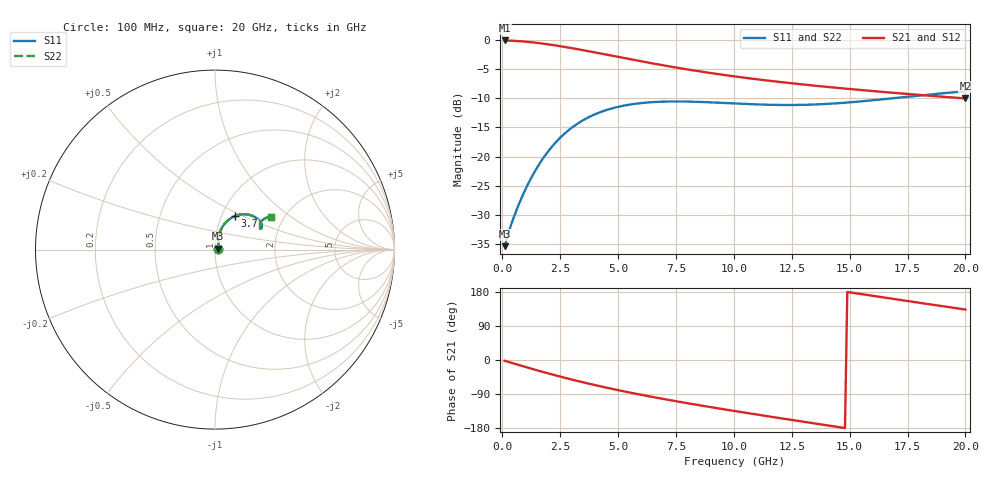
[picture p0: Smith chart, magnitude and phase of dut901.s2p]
! Touchstone file exported from HFSS 2024.1.0
!  File:  C:/UserFiles/LocalFiles/RDL_TSV_Batchsim/temp_RDL_TSV_901_1779953602.aedt
!  Generated:  03:48:23 PM May 28, 2026
!  Design:  RDL_TSV
!  Project:  temp_RDL_TSV_901_1779953602
!  Setup:  Setup1
!  Solution:  Sweep
! Variables:
!  dtsv = 6.6um
!  hbump = 3um
!  htsv = 73.95um
!  ldown = 360.4um
!  lrdl = 566.96um
!  p = 40
!  p1 = 55.06um
!  rhole = 10um
!  subl = 3349.04um
!  t = 450um
!  tdown = 3.41um
!  trdl = 3.46um
!  viad = 10um
!  wdown = 27.94um
!  wrdl = 21.91um
!  xbump = 18um
# GHz S MA R 50.000000
! Terminal data exported
! Port[1] = TM1_1_T1
! Port[2] = TM1_4_T1
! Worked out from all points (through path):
!   200 points, 100 MHz to 20 GHz, reference 50 ohm
!   highest |S21| = -0.14 dB at 100 MHz (marker M1); lowest = -10.1 dB at 20 GHz (marker M2)
!   group delay of S21, straight-line fit = 29.8 ps
!   lowest |S11| = -35.3 dB at 100 MHz (marker M3), VSWR 1.03, Z = 51.6 + j0.577 ohm
!   |S11| at or under -10 dB: start of sweep to 16.93 GHz
!   |S22| runs from -35.3 to -8.8 dB; largest |S21 - S12| = 1.6e-14
!   S11 on the Smith chart (normalised r, x): 100 MHz: 1.03, +0.01; 3.7 GHz: 1.15, +0.45; 20 GHz: 1.72, +0.72
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0.1  0.01713 19.0  0.9836 -1.9  0.9836 -1.9  0.01713 19.0
! Gamma 0 0 0 0
! Port Impedance 50 0 50 0
0.4  0.02682 47.8  0.9784 -7.5  0.9784 -7.5  0.02682 47.8
0.8  0.04288 64.4  0.9677 -14.8  0.9677 -14.8  0.04288 64.4
1.2  0.06302 71.8  0.9524 -21.9  0.9524 -21.9  0.06304 71.9
1.6  0.08651 74.2  0.9329 -28.9  0.9329 -28.9  0.08655 74.3
2  0.1121 73.7  0.9103 -35.6  0.9103 -35.6  0.1122 73.8
2.5  0.1449 70.7  0.879 -43.8  0.879 -43.8  0.145 70.8
3  0.1765 66.3  0.8457 -51.6  0.8457 -51.6  0.1767 66.4
3.5  0.2051 61.5  0.8115 -59.0  0.8115 -59.0  0.2053 61.5
3.7  0.2154 59.5  0.7978 -61.9  0.7978 -61.9  0.2157 59.5
4.4  0.2464 52.6  0.7506 -71.7  0.7506 -71.7  0.2467 52.7
5.3  0.2738 44.7  0.6933 -83.3  0.6933 -83.3  0.2743 44.7
6  0.2867 39.3  0.6524 -91.9  0.6524 -91.9  0.2873 39.4
6.8  0.2942 34.3  0.6102 -101.1  0.6102 -101.1  0.2948 34.3
8.4  0.2939 27.4  0.5398 -118.3  0.5398 -118.3  0.2946 27.5
10.1  0.2841 24.5  0.4825 -135.3  0.4825 -135.3  0.2848 24.5
11.7  0.2767 25.0  0.4408 -150.7  0.4408 -150.7  0.2774 25.0
13.4  0.2784 27.7  0.4055 -166.6  0.4055 -166.6  0.2789 27.6
15  0.2908 30.3  0.3781 178.5  0.3781 178.5  0.2912 30.3
16.7  0.3129 31.9  0.3533 162.9  0.3533 162.9  0.3131 31.8
18.4  0.3386 31.7  0.3319 147.5  0.3319 147.5  0.3387 31.7
20  0.3614 30.3  0.3142 133.2  0.3142 133.2  0.3615 30.3
